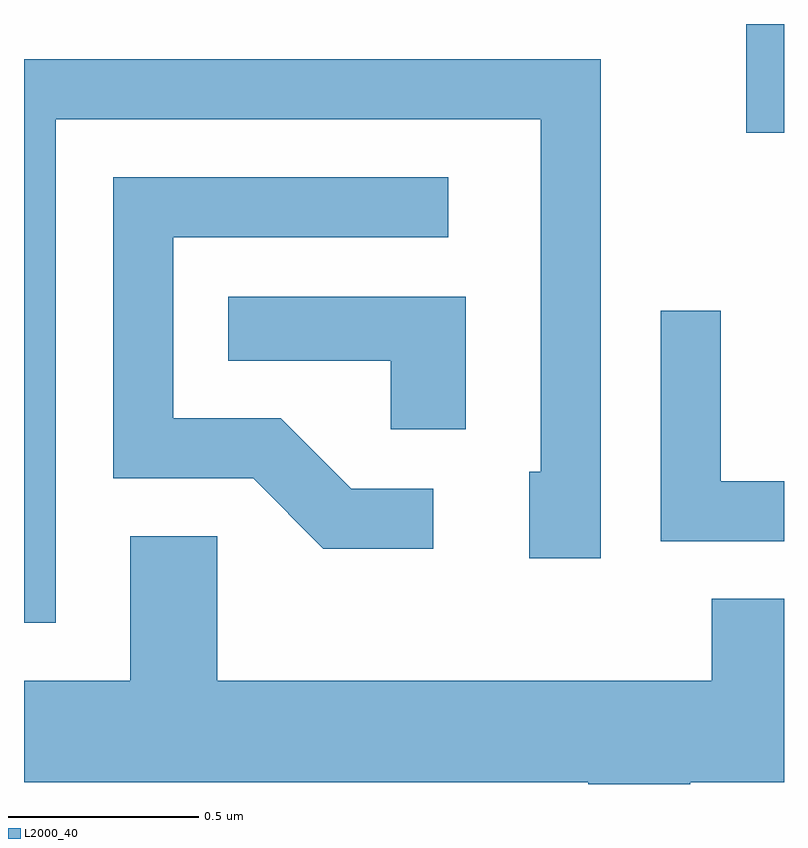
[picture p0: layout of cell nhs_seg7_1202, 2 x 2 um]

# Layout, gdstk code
import gdstk
lib = gdstk.Library(unit=1e-6, precision=1e-09)
def R(c, l, rs):  # rectangles x0, y0, x1, y1
    for r in rs: c.add(gdstk.rectangle(r[:2], r[2:], *l))
def P(c, l, *ps):  # polygons
    for p in ps: c.add(gdstk.Polygon(p, *l))
L2000_40 = (2000, 40)

nhs_seg7_1202 = lib.new_cell('nhs_seg7_1202')
R(nhs_seg7_1202, L2000_40, [(195.511,1775.966,195.611,1776.252)])
P(nhs_seg7_1202, L2000_40, [(193.694,1776.001),(194.971,1776.001),(194.971,1775.074),(194.941,1775.074),(194.941,1774.846),(195.129,1774.846),(195.129,1776.159),(193.611,1776.159),(193.611,1774.676),(193.694,1774.676)],
  [(194.688,1775.029),(194.472,1775.029),(194.287,1775.214),(194.004,1775.214),(194.004,1775.691),(194.728,1775.691),(194.728,1775.849),(193.846,1775.849),(193.846,1775.056),(194.214,1775.056),(194.399,1774.871),(194.688,1774.871)],
  [(194.774,1775.534),(194.148,1775.534),(194.148,1775.366),(194.576,1775.366),(194.576,1775.186),(194.774,1775.186)],
  [(195.611,1775.049),(195.444,1775.049),(195.444,1775.498),(195.286,1775.498),(195.286,1774.891),(195.611,1774.891)],
  [(195.364,1774.256),(195.611,1774.256),(195.611,1774.739),(195.421,1774.739),(195.421,1774.524),(194.119,1774.524),(194.119,1774.904),(193.891,1774.904),(193.891,1774.524),(193.611,1774.524),(193.611,1774.256),(195.096,1774.256),(195.096,1774.252),(195.364,1774.252)])

lib.write_gds('nhs_seg7_1202.gds')
